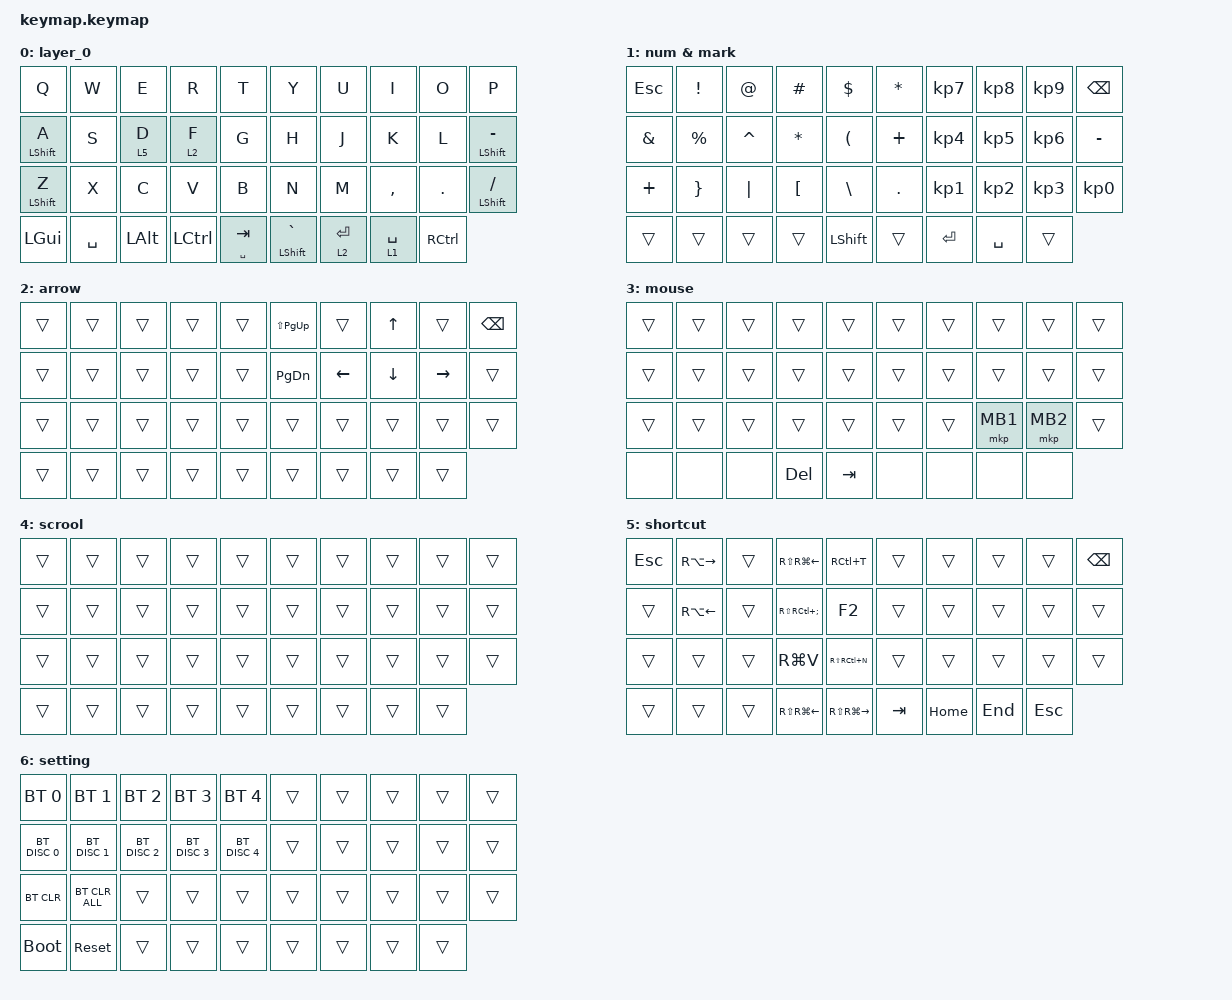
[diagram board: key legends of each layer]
#include <behaviors.dtsi>
#include <dt-bindings/zmk/bt.h>
#include <dt-bindings/zmk/keys.h>
#include <dt-bindings/zmk/pointing.h>

/ {
    combos {
        compatible = "zmk,combos";

        setting {
            bindings = <&to 6>;
            key-positions = <8 9>;
        };

        scroll {
            bindings = <&to 4>;
            key-positions = <28 27>;
        };
    };

    keymap {
        compatible = "zmk,keymap";

        layer_0 {
            bindings = <
&kp Q             &kp W      &kp E     &kp R             &kp T          &kp Y                 &kp U        &kp I        &kp O      &kp P
&mt LEFT_SHIFT A  &kp S      &lt 5 D   &lt 2 F           &kp G          &kp H                 &kp J        &kp K        &kp L      &mt LEFT_SHIFT MINUS
&mt LEFT_SHIFT Z  &kp X      &kp C     &kp V             &kp B          &kp N                 &kp M        &kp COMMA    &kp DOT    &mt LEFT_SHIFT SLASH
&kp LEFT_GUI      &kp SPACE  &kp LALT  &kp LEFT_CONTROL  &mt SPACE TAB  &mt LEFT_SHIFT GRAVE  &lt 2 ENTER  &lt 1 SPACE  &kp RCTRL
            >;
        };

        layer_1 {
            bindings = <
&kp ESC   &kp EXCL         &kp AT_SIGN  &kp HASH      &kp DOLLAR            &kp ASTRK  &kp KP_NUMBER_7  &kp KP_NUMBER_8  &kp KP_NUMBER_9  &kp BSPC
&kp AMPS  &kp PERCENT      &kp CARET    &kp ASTERISK  &kp LEFT_PARENTHESIS  &kp PLUS   &kp KP_NUMBER_4  &kp KP_NUMBER_5  &kp KP_NUMBER_6  &kp MINUS
&kp PLUS  &kp RIGHT_BRACE  &kp PIPE     &kp LBKT      &kp BSLH              &kp DOT    &kp KP_NUMBER_1  &kp KP_NUMBER_2  &kp KP_NUMBER_3  &kp KP_NUMBER_0
&trans    &trans           &trans       &trans        &kp LSHFT             &trans     &kp ENTER        &kp SPACE        &trans
            >;

            label = "num & mark";
        };

        layer_2 {
            bindings = <
&trans  &trans  &trans  &trans  &trans  &kp LS(PG_UP)  &trans          &kp UP_ARROW  &trans     &kp BACKSPACE
&trans  &trans  &trans  &trans  &trans  &kp PAGE_DOWN  &kp LEFT_ARROW  &kp DOWN      &kp RIGHT  &trans
&trans  &trans  &trans  &trans  &trans  &trans         &trans          &trans        &trans     &trans
&trans  &trans  &trans  &trans  &trans  &trans         &trans          &trans        &trans
            >;

            label = "arrow";
        };

        layer_3 {
            bindings = <
&trans  &trans  &trans  &trans      &trans   &trans  &trans  &trans    &trans    &trans
&trans  &trans  &trans  &trans      &trans   &trans  &trans  &trans    &trans    &trans
&trans  &trans  &trans  &trans      &trans   &trans  &trans  &mkp MB1  &mkp MB2  &trans
&none   &none   &none   &kp DELETE  &kp TAB  &none   &none   &none     &none
            >;

            label = "mouse";
        };

        layer_4 {
            bindings = <
&trans  &trans  &trans  &trans  &trans  &trans  &trans  &trans  &trans  &trans
&trans  &trans  &trans  &trans  &trans  &trans  &trans  &trans  &trans  &trans
&trans  &trans  &trans  &trans  &trans  &trans  &trans  &trans  &trans  &trans
&trans  &trans  &trans  &trans  &trans  &trans  &trans  &trans  &trans
            >;

            label = "scrool";
        };

        layer_5 {
            bindings = <
&kp ESC  &kp RA(RIGHT)  &trans  &kp RS(RG(LEFT))  &kp RC(T)          &trans   &trans    &trans   &trans   &kp BSPC
&trans   &kp RA(LEFT)   &trans  &kp RS(RC(SEMI))  &kp F2             &trans   &trans    &trans   &trans   &trans
&trans   &trans         &trans  &kp RG(V)         &kp RS(RC(N))      &trans   &trans    &trans   &trans   &trans
&trans   &trans         &trans  &kp RS(RG(LEFT))  &kp RS(RG(RIGHT))  &kp TAB  &kp HOME  &kp END  &kp ESC
            >;

            label = "shortcut";
        };

        layer_6 {
            bindings = <
&bt BT_SEL 0   &bt BT_SEL 1    &bt BT_SEL 2   &bt BT_SEL 3   &bt BT_SEL 4   &trans  &trans  &trans  &trans  &trans
&bt BT_DISC 0  &bt BT_DISC 1   &bt BT_DISC 2  &bt BT_DISC 3  &bt BT_DISC 4  &trans  &trans  &trans  &trans  &trans
&bt BT_CLR     &bt BT_CLR_ALL  &trans         &trans         &trans         &trans  &trans  &trans  &trans  &trans
&bootloader    &sys_reset      &trans         &trans         &trans         &trans  &trans  &trans  &trans
            >;

            label = "setting";
        };
    };
};

&mkp_input_listener {
    // Clicking a mouse button re-arms the mouse layer (layer 3) with a short
    // timeout, so it exits quickly right after a click unless the trackball
    // keeps moving (e.g. during a drag), in which case trackball_listener's
    // longer timeout in torabo_tsuki.dtsi wins.
    //
    // NOTE: this block must stay in keymap.keymap, not torabo_tsuki.dtsi -
    // mkp_input_listener only exists once this file's `#include
    // <behaviors.dtsi>` is processed, and torabo_tsuki.dtsi is merged earlier
    // in the devicetree build, so referencing it from there fails to build.
    // If the keymap-editor tool ever regenerates this file without this
    // block, it needs to be re-added here.
    input-processors = <&zip_temp_layer 3 250>;
};
